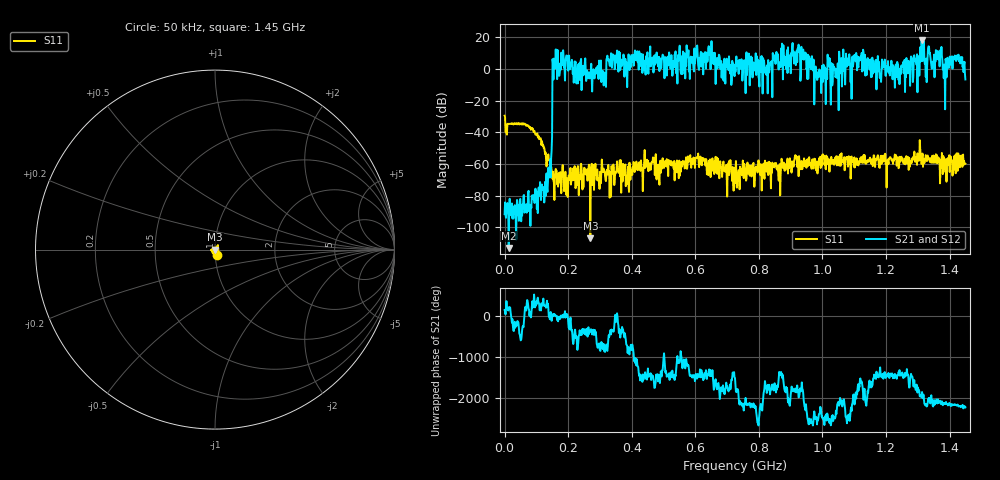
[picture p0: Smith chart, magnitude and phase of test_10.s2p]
! Created with skrf 1.11.0 (http://scikit-rf.org).
# Hz S RI R 50.0
!freq ReS11 ImS11 ReS21 ImS21 ReS12 ImS12 ReS22 ImS22
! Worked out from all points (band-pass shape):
!   1001 points, 50 kHz to 1.45 GHz, reference 50 ohm
!   highest |S21| = 18.13 dB at 1.312 GHz (marker M1); lowest = -113.0 dB at 13.1 MHz (marker M2)
!   |S21| within 3 dB of the highest: 650.6336 MHz to 651.504 MHz (870.4 kHz wide, 0.134 % of centre); 1.317583 GHz to 1.319777 GHz (2.193 MHz wide, 0.166 % of centre) (the widest 2 of 6)
!   lowest |S11| = -107.0 dB at 269.7 MHz (marker M3), VSWR 1.00, Z = 50 + j0.0002 ohm
!   |S11| at or under -10 dB: start of sweep to end of sweep
!   |S22| runs from - to - dB; largest |S21 - S12| = 0
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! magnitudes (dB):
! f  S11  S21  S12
! 50 kHz  -29.4  -91.6  -91.6
! 13.1 MHz  -34.7  -113.0  -113.0
! 82.7 MHz  -38.3  -85.7  -85.7
! 129.1 MHz  -52.6  -80.1  -80.1
! 142.1 MHz  -57.9  -63.3  -63.3
! 158.1 MHz  -69.3  6.0  6.0
! 242.2 MHz  -62.4  -13.3  -13.3
! 269.7 MHz  -107.0  -5.3  -5.3
! 311.8 MHz  -62.9  -10.3  -10.3
! 327.7 MHz  -65.6  6.3  6.3
! 484.3 MHz  -64.2  3.6  3.6
! 601.8 MHz  -56.4  7.8  7.8
! 725 MHz  -72.0  2.6  2.6
! 835.2 MHz  -59.2  3.7  3.7
! 922.2 MHz  -58.2  13.0  13.0
! 967.2 MHz  -62.8  8.2  8.2
! 1.209 GHz  -56.7  -1.6  -1.6
! 1.312 GHz  -59.9  18.1  18.1
! 1.369 GHz  -57.1  1.8  1.8
! 1.385 GHz  -59.3  2.1  2.1
! 1.43 GHz  -56.6  5.1  5.1
! 1.45 GHz  -59.8  -6.5  -6.5
